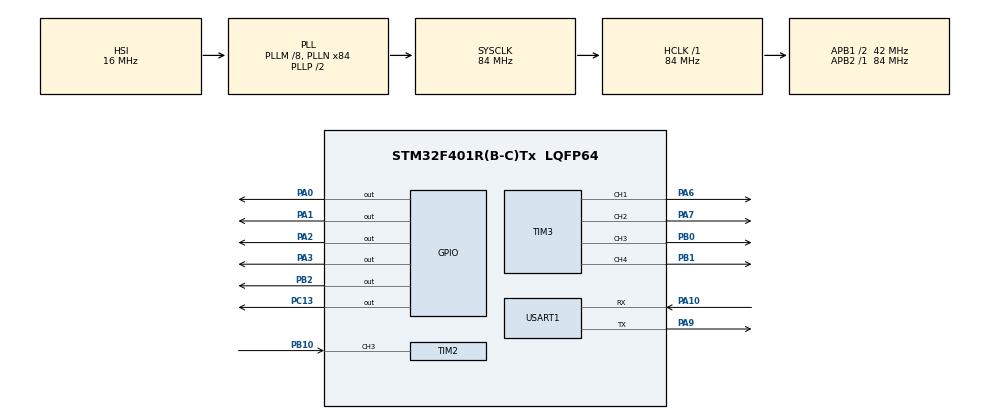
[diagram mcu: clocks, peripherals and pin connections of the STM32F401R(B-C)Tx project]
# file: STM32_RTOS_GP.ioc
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FREERTOS.BinarySemaphores01=USReading,Dynamic,NULL
FREERTOS.Queues01=UltrasonicDistance,1,uint16_t,0,Dynamic,NULL,NULL
FREERTOS.Tasks01=Ultrasonic_Task,24,1024,UltrasonicTask,Default,NULL,Dynamic,NULL,NULL;Rover_Commands,32,1024,RoverCommands,Default,NULL,Dynamic,NULL,NULL
FREERTOS.configUSE_NEWLIB_REENTRANT=1
FREERTOS.configUSE_PREEMPTION=0
Mcu.Family=STM32F4
Mcu.Name=STM32F401R(B-C)Tx
Mcu.Package=LQFP64
NVIC.PriorityGroup=NVIC_PRIORITYGROUP_4
NVIC.TIM1_UP_TIM10_IRQn=true\:15\:0\:false\:false\:true\:false\:false\:true\:true
NVIC.TIM2_IRQn=true\:5\:0\:false\:false\:true\:true\:true\:true\:true
NVIC.TimeBase=TIM1_UP_TIM10_IRQn
NVIC.TimeBaseIP=TIM1
PA0-WKUP.Signal=GPIO_Output
PA1.Signal=GPIO_Output
PA10.Mode=Asynchronous
PA10.Signal=USART1_RX
PA2.Signal=GPIO_Output
PA3.Signal=GPIO_Output
PA6.Signal=S_TIM3_CH1
PA7.Signal=S_TIM3_CH2
PA9.Mode=Asynchronous
PA9.Signal=USART1_TX
PB0.Signal=S_TIM3_CH3
PB1.Signal=S_TIM3_CH4
PB10.Signal=S_TIM2_CH3
PB2.Signal=GPIO_Output
PC13-ANTI_TAMP.Signal=GPIO_Output
ProjectManager.HeapSize=0x200
ProjectManager.StackSize=0x400
ProjectManager.TargetToolchain=STM32CubeIDE
RCC.48MHZClocksFreq_Value=42000000
RCC.AHBFreq_Value=84000000
RCC.APB1CLKDivider=RCC_HCLK_DIV2
RCC.APB1Freq_Value=42000000
RCC.APB1TimFreq_Value=84000000
RCC.APB2Freq_Value=84000000
RCC.APB2TimFreq_Value=84000000
RCC.CortexFreq_Value=84000000
RCC.HCLKFreq_Value=84000000
RCC.HSE_VALUE=25000000
RCC.HSI_VALUE=16000000
RCC.LSE_VALUE=32768
RCC.PLLM=8
RCC.PLLN=84
RCC.SYSCLKFreq_VALUE=84000000
RCC.SYSCLKSource=RCC_SYSCLKSOURCE_PLLCLK
RCC.VCOOutputFreq_Value=168000000
SH.S_TIM2_CH3.0=TIM2_CH3,Input_Capture3_from_TI3
SH.S_TIM3_CH1.0=TIM3_CH1,PWM Generation1 CH1
SH.S_TIM3_CH2.0=TIM3_CH2,PWM Generation2 CH2
SH.S_TIM3_CH3.0=TIM3_CH3,PWM Generation3 CH3
SH.S_TIM3_CH4.0=TIM3_CH4,PWM Generation4 CH4
TIM10.Prescaler=83
TIM2.Channel-Input_Capture3_from_TI3=TIM_CHANNEL_3
TIM2.Prescaler=83
TIM3.Channel-PWM\ Generation1\ CH1=TIM_CHANNEL_1
TIM3.Channel-PWM\ Generation2\ CH2=TIM_CHANNEL_2
TIM3.Channel-PWM\ Generation3\ CH3=TIM_CHANNEL_3
TIM3.Channel-PWM\ Generation4\ CH4=TIM_CHANNEL_4
USART1.VirtualMode=VM_ASYNC
VP_CRC_VS_CRC.Mode=CRC_Activate
VP_FREERTOS_VS_CMSIS_V2.Mode=CMSIS_V2
VP_SYS_VS_tim1.Mode=TIM1
VP_TIM10_VS_ClockSourceINT.Mode=Enable_Timer
board=custom

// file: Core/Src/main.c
/* USER CODE BEGIN Header */
/**
  ******************************************************************************
  * @file           : main.c
  * @brief          : Main program body
  ******************************************************************************
  * @attention
  *
  * Copyright (c) 2025 STMicroelectronics.
  * All rights reserved.
  *
  * This software is licensed under terms that can be found in the LICENSE file
  * in the root directory of this software component.
  * If no LICENSE file comes with this software, it is provided AS-IS.
  *
  ******************************************************************************
  */
/* USER CODE END Header */
#include "main.h"
#include "cmsis_os.h"
#include "crc.h"
#include "tim.h"
#include "usart.h"
#include "gpio.h"

void SystemClock_Config(void);
void MX_FREERTOS_Init(void);

/* USER CODE BEGIN 0 */
#define FLASH_SECTOR3_BASE_ADDRESS 0x0800C000U
typedef void (*pMainApp)(void);
/* USER CODE END 0 */

int main(void)
{
  /* USER CODE BEGIN 1 */
	// Jump to new app if there is any
	if(0xFFFFFFFF != *((volatile uint32_t *)FLASH_SECTOR3_BASE_ADDRESS))
	{
		/* Value of the main stack pointer of our main application */
		uint32_t MSP_Value = *((volatile uint32_t *)FLASH_SECTOR3_BASE_ADDRESS);

		/* Reset Handler definition function of our main application */
		uint32_t MainAppAddr = *((volatile uint32_t *)(FLASH_SECTOR3_BASE_ADDRESS + 4));

		/* Fetch the reset handler address of the user application */
		pMainApp ResetHandler_Address = (pMainApp)MainAppAddr;

		/* Set Main Stack Pointer */
		__set_MSP(MSP_Value);

		/* Jump to Application Reset Handler */
		ResetHandler_Address();
	}
  /* USER CODE END 1 */

  /* MCU Configuration--------------------------------------------------------*/

  /* Reset of all peripherals, Initializes the Flash interface and the Systick. */
  HAL_Init();

  /* Configure the system clock */
  SystemClock_Config();

  /* Initialize all configured peripherals */
  MX_GPIO_Init();
  MX_TIM3_Init();
  MX_USART1_UART_Init();
  MX_TIM10_Init();
  MX_TIM2_Init();
  MX_CRC_Init();

  /* Init scheduler */
  osKernelInitialize();

  /* Call init function for freertos objects (in freertos.c) */
  MX_FREERTOS_Init();

  /* Start scheduler */
  osKernelStart();

  /* We should never get here as control is now taken by the scheduler */
  /* Infinite loop */
  while (1)
  {

  }
}

void SystemClock_Config(void)
{
  RCC_OscInitTypeDef RCC_OscInitStruct = {0};
  RCC_ClkInitTypeDef RCC_ClkInitStruct = {0};

  /** Configure the main internal regulator output voltage
  */
  __HAL_RCC_PWR_CLK_ENABLE();
  __HAL_PWR_VOLTAGESCALING_CONFIG(PWR_REGULATOR_VOLTAGE_SCALE2);

  /** Initializes the RCC Oscillators according to the specified parameters
  * in the RCC_OscInitTypeDef structure.
  */
  RCC_OscInitStruct.OscillatorType = RCC_OSCILLATORTYPE_HSI;
  RCC_OscInitStruct.HSIState = RCC_HSI_ON;
  RCC_OscInitStruct.HSICalibrationValue = RCC_HSICALIBRATION_DEFAULT;
  RCC_OscInitStruct.PLL.PLLState = RCC_PLL_ON;
  RCC_OscInitStruct.PLL.PLLSource = RCC_PLLSOURCE_HSI;
  RCC_OscInitStruct.PLL.PLLM = 8;
  RCC_OscInitStruct.PLL.PLLN = 84;
  RCC_OscInitStruct.PLL.PLLP = RCC_PLLP_DIV2;
  RCC_OscInitStruct.PLL.PLLQ = 4;
  if (HAL_RCC_OscConfig(&RCC_OscInitStruct) != HAL_OK)
  {
    Error_Handler();
  }

  /** Initializes the CPU, AHB and APB buses clocks
  */
  RCC_ClkInitStruct.ClockType = RCC_CLOCKTYPE_HCLK|RCC_CLOCKTYPE_SYSCLK
                              |RCC_CLOCKTYPE_PCLK1|RCC_CLOCKTYPE_PCLK2;
  RCC_ClkInitStruct.SYSCLKSource = RCC_SYSCLKSOURCE_PLLCLK;
  RCC_ClkInitStruct.AHBCLKDivider = RCC_SYSCLK_DIV1;
  RCC_ClkInitStruct.APB1CLKDivider = RCC_HCLK_DIV2;
  RCC_ClkInitStruct.APB2CLKDivider = RCC_HCLK_DIV1;

  if (HAL_RCC_ClockConfig(&RCC_ClkInitStruct, FLASH_LATENCY_2) != HAL_OK)
  {
    Error_Handler();
  }
}

void HAL_TIM_PeriodElapsedCallback(TIM_HandleTypeDef *htim)
{
  if (htim->Instance == TIM1) {
    HAL_IncTick();
  }
}

void Error_Handler(void)
{
  __disable_irq();
  while (1)
  {
  }
}

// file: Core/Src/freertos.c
/* USER CODE BEGIN Header */
/**
  ******************************************************************************
  * File Name          : freertos.c
  * Description        : Code for freertos applications
  ******************************************************************************
  * @attention
  *
  * Copyright (c) 2025 STMicroelectronics.
  * All rights reserved.
  *
  * This software is licensed under terms that can be found in the LICENSE file
  * in the root directory of this software component.
  * If no LICENSE file comes with this software, it is provided AS-IS.
  *
  ******************************************************************************
  */
/* USER CODE END Header */

#include "FreeRTOS.h"
#include "task.h"
#include "main.h"
#include "cmsis_os.h"

/* USER CODE BEGIN Includes */
#include "usart.h"
#include "ultrasonic.h"
#include "motor.h"
#include "bootloader.h"
/* USER CODE END Includes */

/* USER CODE BEGIN Variables */
extern TIM_HandleTypeDef htim2;
/* USER CODE END Variables */
/* Definitions for Ultrasonic_Task */
osThreadId_t Ultrasonic_TaskHandle;
const osThreadAttr_t Ultrasonic_Task_attributes = {
  .name = "Ultrasonic_Task",
  .stack_size = 1024 * 4,
  .priority = (osPriority_t) osPriorityNormal,
};
/* Definitions for Rover_Commands */
osThreadId_t Rover_CommandsHandle;
const osThreadAttr_t Rover_Commands_attributes = {
  .name = "Rover_Commands",
  .stack_size = 1024 * 4,
  .priority = (osPriority_t) osPriorityAboveNormal,
};
/* Definitions for UltrasonicDistance */
osMessageQueueId_t UltrasonicDistanceHandle;
const osMessageQueueAttr_t UltrasonicDistance_attributes = {
  .name = "UltrasonicDistance"
};
/* Definitions for USReading */
osSemaphoreId_t USReadingHandle;
const osSemaphoreAttr_t USReading_attributes = {
  .name = "USReading"
};

void UltrasonicTask(void *argument);
void RoverCommands(void *argument);

void MX_FREERTOS_Init(void); /* (MISRA C 2004 rule 8.1) */

void MX_FREERTOS_Init(void) {

  /* Create the semaphores(s) */
  /* creation of USReading */
  USReadingHandle = osSemaphoreNew(1, 1, &USReading_attributes);

  /* Create the queue(s) */
  /* creation of UltrasonicDistance */
  UltrasonicDistanceHandle = osMessageQueueNew (1, sizeof(uint16_t), &UltrasonicDistance_attributes);

  /* Create the thread(s) */
  /* creation of Ultrasonic_Task */
  Ultrasonic_TaskHandle = osThreadNew(UltrasonicTask, NULL, &Ultrasonic_Task_attributes);

  /* creation of Rover_Commands */
  Rover_CommandsHandle = osThreadNew(RoverCommands, NULL, &Rover_Commands_attributes);

}

void UltrasonicTask(void *argument)
{
  /* USER CODE BEGIN UltrasonicTask */
	HAL_TIM_IC_Start_IT(&htim2, TIM_CHANNEL_3);

  /* Infinite loop */
  for(;;)
  {
	if(osOK == osSemaphoreAcquire(USReadingHandle, 0))
	{
		// Send Trigger
		HAL_GPIO_WritePin(ULTRASONUC_TRIGGER_PORT, ULTRASONIC_TRIGGER_PIN, GPIO_PIN_SET);
		// 10us delay
		__HAL_TIM_SET_COUNTER(ULTRASONIC_ECHO_PIN_IC, 0);
		while(__HAL_TIM_GET_COUNTER(ULTRASONIC_ECHO_PIN_IC) < 10); /* TIMER Tick time = 1us */
		HAL_GPIO_WritePin(ULTRASONUC_TRIGGER_PORT, ULTRASONIC_TRIGGER_PIN, GPIO_PIN_RESET);
		__HAL_TIM_ENABLE_IT(ULTRASONIC_ECHO_PIN_IC, TIM_IT_CC3);

		// toggle at start of new reading
		HAL_GPIO_TogglePin(GPIOC, GPIO_PIN_13);
	}

    osDelay(60);
  }
  /* USER CODE END UltrasonicTask */
}

void RoverCommands(void *argument)
{
  /* USER CODE BEGIN RoverCommands */
  uint16_t distance = 0;
  uint8_t ras_value = 0, last_ras_value = 0;
  Rover_Initialize();

  /* Infinite loop */
  for(;;)
  {
	HAL_UART_Receive(&huart1, (uint8_t*)&ras_value, 1, 0);

	if(ras_value && 'K' != ras_value) // ignore keep alive command
	{
	  if('U' == ras_value){
		  ras_value = 0;
		  Bootloader_Handle_Command();
	  }
	  else if('F' == ras_value || 'B' == ras_value || 'R' == ras_value || 'L' == ras_value)
		  last_ras_value = ras_value;
	  else
		  last_ras_value = 0;
	}
	else{ ras_value = last_ras_value; }

	switch(ras_value)
	{
	  case 'F':
		  osMessageQueueGet(UltrasonicDistanceHandle, &distance, (uint8_t*)1, 0);
		  if(40 > distance && 0 < distance)
			  Rover_Stop();
		  else
			  Rover_Forward();
		  break;

	  case 'B':
		  Rover_Backward();
		  break;

	  case 'R':
		  Rover_Right();
		  break;

	  case 'L':
		  Rover_Left();
		  break;

	  case 'S':
		  Rover_Stop();
		  break;

	  case '0': case '1': case '2': case '3': case '4': case '5':
		  Rover_Change_Speed((ras_value - '0') * 20);
		  ras_value = 0;
		  break;
	}

    osDelay(40);
  }
  /* USER CODE END RoverCommands */
}
